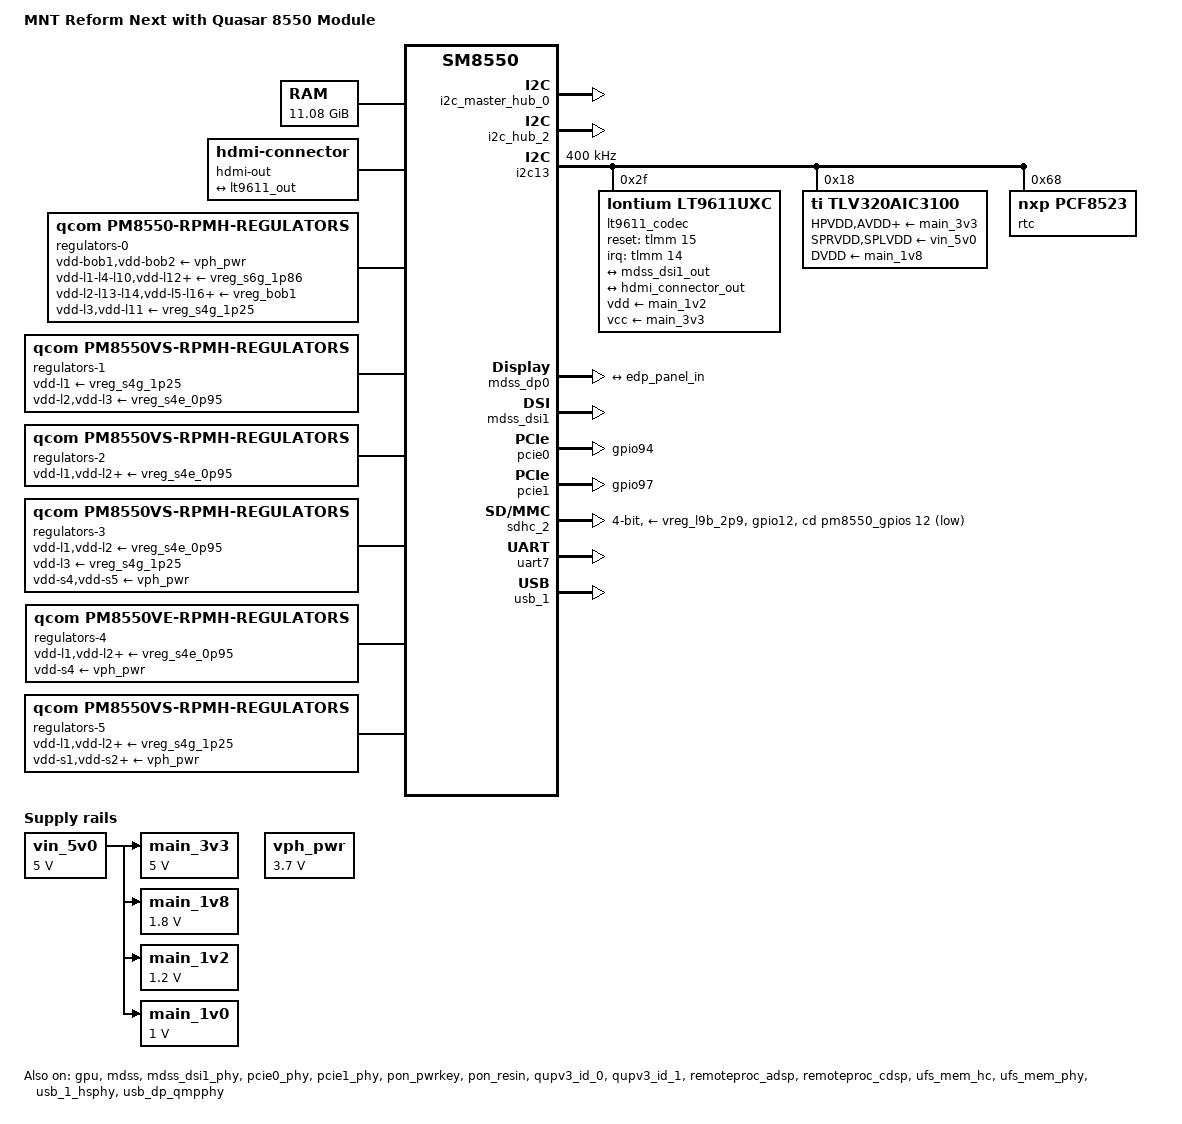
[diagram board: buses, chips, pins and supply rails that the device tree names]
// SPDX-License-Identifier: BSD-3-Clause
/*
 * Copyright (c) 2024 Linaro Limited
 * Copyright (c) 2026 MNT Research GmbH
 */

/dts-v1/;

#include <dt-bindings/leds/common.h>
#include <dt-bindings/regulator/qcom,rpmh-regulator.h>
#include "qcs8550.dtsi"
//#include "pm8010.dtsi"
#include "pm8550.dtsi"
#include "pm8550b.dtsi"
#define PMK8550VE_SID 5
#include "pm8550ve.dtsi"
#include "pm8550vs.dtsi"
#include "pmk8550.dtsi"
//#include "pmr735d_a.dtsi"
//#include "pmr735d_b.dtsi"

/ {
	model = "MNT Reform Next with Quasar 8550 Module";
	compatible = "mnt,quasar", "qcom,sm8550", "qcom,qcs8550";

	aliases {
		serial0 = &uart7;
	};

	memory@a0000000 {
		device_type = "memory";
		reg =
		<0x00 0xa7000000 0x00 0x2d000000>,
		<0x00 0xe1bb0000 0x00 0x1e450000>,
		<0x08 0x80000000 0x00 0x39a00000>,
		<0x08 0xc0000000 0x00 0xc0000000>,
		<0x09 0x80000000 0x01 0x80000000>;
	};

	chosen {
		stdout-path = "serial0:115200n8";
	};

	vin_5v0: vin-5v0-regulator {
		compatible = "regulator-fixed";
		regulator-name = "vin_5v0";
		regulator-min-microvolt = <5000000>;
		regulator-max-microvolt = <5000000>;

		regulator-always-on;
		regulator-boot-on;
	};

	main_3v3: main-3v3-regulator {
		compatible = "regulator-fixed";
		regulator-name = "main_3v3";
		regulator-min-microvolt = <5000000>;
		regulator-max-microvolt = <5000000>;

		regulator-always-on;
		regulator-boot-on;

		vin-supply = <&vin_5v0>;
	};

	main_1v8: main-1v2-regulator {
		compatible = "regulator-fixed";
		regulator-name = "main_1v8";
		regulator-min-microvolt = <1800000>;
		regulator-max-microvolt = <1800000>;

		regulator-always-on;
		regulator-boot-on;

		vin-supply = <&vin_5v0>;
	};

	main_1v2: main-1v2-regulator {
		compatible = "regulator-fixed";
		regulator-name = "main_1v2";
		regulator-min-microvolt = <1200000>;
		regulator-max-microvolt = <1200000>;

		regulator-always-on;
		regulator-boot-on;

		vin-supply = <&vin_5v0>;
	};

	main_1v0: main-1v0-regulator {
		compatible = "regulator-fixed";
		regulator-name = "main_1v0";
		regulator-min-microvolt = <1000000>;
		regulator-max-microvolt = <1000000>;

		regulator-always-on;
		regulator-boot-on;

		vin-supply = <&vin_5v0>;
	};

	hdmi-out {
		compatible = "hdmi-connector";
		type = "a";

		port {
			hdmi_connector_out: endpoint {
				remote-endpoint = <&lt9611_out>;
			};
		};
	};

	/*usb3_con: usb3_con {
		compatible = "usb-a-connector";

		ports {
			#address-cells = <1>;
			#size-cells = <0>;

			port@0 {
				reg = <0>;

				usb3_con_hs_in: endpoint {
					remote-endpoint = <&usb_1_dwc3_hs>;
				};
			};

			port@1 {
				reg = <1>;

				usb3_con_ss_in: endpoint {
					remote-endpoint = <&usb_dp_qmpphy_out_usb>;
				};
			}
		};
	};*/

	// TODO check gpios
	/*gpio-keys {
		compatible = "gpio-keys";

		pinctrl-0 = <&volume_up_n>;
		pinctrl-names = "default";

		key-volume-up {
			label = "Volume Up";
			linux,code = <KEY_VOLUMEUP>;
			gpios = <&pm8550_gpios 6 GPIO_ACTIVE_LOW>;
			debounce-interval = <15>;
			linux,can-disable;
			wakeup-source;
		};
	};*/

	vph_pwr: regulator-vph-pwr {
		compatible = "regulator-fixed";

		regulator-name = "vph_pwr";
		regulator-min-microvolt = <3700000>;
		regulator-max-microvolt = <3700000>;
		regulator-always-on;
		regulator-boot-on;
	};
};

&apps_rsc {
	regulators-0 {
		compatible = "qcom,pm8550-rpmh-regulators";
		qcom,pmic-id = "b";

		vdd-bob1-supply = <&vph_pwr>;
		vdd-bob2-supply = <&vph_pwr>;
		vdd-l1-l4-l10-supply = <&vreg_s6g_1p86>;
		vdd-l2-l13-l14-supply = <&vreg_bob1>;
		vdd-l3-supply = <&vreg_s4g_1p25>;
		vdd-l5-l16-supply = <&vreg_bob1>;
		vdd-l6-l7-supply = <&vreg_bob1>;
		vdd-l8-l9-supply = <&vreg_bob1>;
		vdd-l11-supply = <&vreg_s4g_1p25>;
		vdd-l12-supply = <&vreg_s6g_1p86>;
		vdd-l15-supply = <&vreg_s6g_1p86>;
		vdd-l17-supply = <&vreg_bob2>;

		vreg_bob1: bob1 {
			regulator-name = "vreg_bob1";
			regulator-min-microvolt = <3296000>;
			regulator-max-microvolt = <3960000>;
			regulator-initial-mode = <RPMH_REGULATOR_MODE_HPM>;
		};

		vreg_bob2: bob2 {
			regulator-name = "vreg_bob2";
			regulator-min-microvolt = <2720000>;
			regulator-max-microvolt = <3960000>;
			regulator-initial-mode = <RPMH_REGULATOR_MODE_HPM>;
		};

		vreg_l1b_1p8: ldo1 {
			regulator-name = "vreg_l1b_1p8";
			regulator-min-microvolt = <1800000>;
			regulator-max-microvolt = <1800000>;
			regulator-initial-mode = <RPMH_REGULATOR_MODE_HPM>;
		};

		vreg_l2b_3p0: ldo2 {
			regulator-name = "vreg_l2b_3p0";
			regulator-min-microvolt = <3008000>;
			regulator-max-microvolt = <3008000>;
			regulator-initial-mode = <RPMH_REGULATOR_MODE_HPM>;
		};

		vreg_l5b_3p1: ldo5 {
			regulator-name = "vreg_l5b_3p1";
			regulator-min-microvolt = <3104000>;
			regulator-max-microvolt = <3104000>;
			regulator-initial-mode = <RPMH_REGULATOR_MODE_HPM>;
		};

		vreg_l6b_1p8: ldo6 {
			regulator-name = "vreg_l6b_1p8";
			regulator-min-microvolt = <1800000>;
			regulator-max-microvolt = <3008000>;
			regulator-initial-mode = <RPMH_REGULATOR_MODE_HPM>;
		};

		vreg_l7b_1p8: ldo7 {
			regulator-name = "vreg_l7b_1p8";
			regulator-min-microvolt = <1800000>;
			regulator-max-microvolt = <3008000>;
			regulator-initial-mode = <RPMH_REGULATOR_MODE_HPM>;
		};

		vreg_l8b_1p8: ldo8 {
			regulator-name = "vreg_l8b_1p8";
			regulator-min-microvolt = <1800000>;
			regulator-max-microvolt = <3008000>;
			regulator-initial-mode = <RPMH_REGULATOR_MODE_HPM>;
		};

		vreg_l9b_2p9: ldo9 {
			regulator-name = "vreg_l9b_2p9";
			regulator-min-microvolt = <2960000>;
			regulator-max-microvolt = <3008000>;
			regulator-initial-mode = <RPMH_REGULATOR_MODE_HPM>;
		};

		vreg_l11b_1p2: ldo11 {
			regulator-name = "vreg_l11b_1p2";
			regulator-min-microvolt = <1200000>;
			regulator-max-microvolt = <1504000>;
			regulator-initial-mode = <RPMH_REGULATOR_MODE_HPM>;
		};

		vreg_l12b_1p8: ldo12 {
			regulator-name = "vreg_l12b_1p8";
			regulator-min-microvolt = <1800000>;
			regulator-max-microvolt = <1800000>;
			regulator-initial-mode = <RPMH_REGULATOR_MODE_HPM>;
		};

		vreg_l13b_3p0: ldo13 {
			regulator-name = "vreg_l13b_3p0";
			regulator-min-microvolt = <3000000>;
			regulator-max-microvolt = <3000000>;
			regulator-initial-mode = <RPMH_REGULATOR_MODE_HPM>;
		};

		vreg_l14b_3p2: ldo14 {
			regulator-name = "vreg_l14b_3p2";
			regulator-min-microvolt = <3200000>;
			regulator-max-microvolt = <3200000>;
			regulator-initial-mode = <RPMH_REGULATOR_MODE_HPM>;
		};

		vreg_l15b_1p8: ldo15 {
			regulator-name = "vreg_l15b_1p8";
			regulator-min-microvolt = <1800000>;
			regulator-max-microvolt = <1800000>;
			regulator-initial-mode = <RPMH_REGULATOR_MODE_HPM>;
		};

		vreg_l16b_2p8: ldo16 {
			regulator-name = "vreg_l16b_2p8";
			regulator-min-microvolt = <2800000>;
			regulator-max-microvolt = <2800000>;
			regulator-initial-mode = <RPMH_REGULATOR_MODE_HPM>;
		};

		vreg_l17b_2p5: ldo17 {
			regulator-name = "vreg_l17b_2p5";
			regulator-min-microvolt = <2504000>;
			regulator-max-microvolt = <2504000>;
			regulator-initial-mode = <RPMH_REGULATOR_MODE_HPM>;
		};
	};

	regulators-1 {
		compatible = "qcom,pm8550vs-rpmh-regulators";
		qcom,pmic-id = "c";

		vdd-l1-supply = <&vreg_s4g_1p25>;
		vdd-l2-supply = <&vreg_s4e_0p95>;
		vdd-l3-supply = <&vreg_s4e_0p95>;

		vreg_l3c_0p9: ldo3 {
			regulator-name = "vreg_l3c_0p9";
			regulator-min-microvolt = <880000>;
			regulator-max-microvolt = <912000>;
			regulator-initial-mode = <RPMH_REGULATOR_MODE_HPM>;
		};
	};

	regulators-2 {
		compatible = "qcom,pm8550vs-rpmh-regulators";
		qcom,pmic-id = "d";

		vdd-l1-supply = <&vreg_s4e_0p95>;
		vdd-l2-supply = <&vreg_s4e_0p95>;
		vdd-l3-supply = <&vreg_s4e_0p95>;

		vreg_l1d_0p88: ldo1 {
			regulator-name = "vreg_l1d_0p88";
			regulator-min-microvolt = <880000>;
			regulator-max-microvolt = <920000>;
			regulator-initial-mode = <RPMH_REGULATOR_MODE_HPM>;
		};

		/* ldo2 supplies SM8550 VDD_LPI_MX */
	};

	regulators-3 {
		compatible = "qcom,pm8550vs-rpmh-regulators";
		qcom,pmic-id = "e";

		vdd-l1-supply = <&vreg_s4e_0p95>;
		vdd-l2-supply = <&vreg_s4e_0p95>;
		vdd-l3-supply = <&vreg_s4g_1p25>;
		vdd-s4-supply = <&vph_pwr>;
		vdd-s5-supply = <&vph_pwr>;

		vreg_s4e_0p95: smps4 {
			regulator-name = "vreg_s4e_0p95";
			regulator-min-microvolt = <904000>;
			regulator-max-microvolt = <984000>;
			regulator-initial-mode = <RPMH_REGULATOR_MODE_HPM>;
		};

		vreg_s5e_1p08: smps5 {
			regulator-name = "vreg_s5e_1p08";
			regulator-min-microvolt = <1010000>;
			regulator-max-microvolt = <1120000>;
			regulator-initial-mode = <RPMH_REGULATOR_MODE_HPM>;
		};

		vreg_l1e_0p88: ldo1 {
			regulator-name = "vreg_l1e_0p88";
			regulator-min-microvolt = <880000>;
			regulator-max-microvolt = <912000>;
			regulator-initial-mode = <RPMH_REGULATOR_MODE_HPM>;
		};

		vreg_l2e_0p9: ldo2 {
			regulator-name = "vreg_l2e_0p9";
			regulator-min-microvolt = <870000>;
			regulator-max-microvolt = <970000>;
			regulator-initial-mode = <RPMH_REGULATOR_MODE_HPM>;
		};

		vreg_l3e_1p2: ldo3 {
			regulator-name = "vreg_l3e_1p2";
			regulator-min-microvolt = <1200000>;
			regulator-max-microvolt = <1200000>;
			regulator-initial-mode = <RPMH_REGULATOR_MODE_HPM>;
		};
	};

	regulators-4 {
		compatible = "qcom,pm8550ve-rpmh-regulators";
		qcom,pmic-id = "f";

		vdd-l1-supply = <&vreg_s4e_0p95>;
		vdd-l2-supply = <&vreg_s4e_0p95>;
		vdd-l3-supply = <&vreg_s4e_0p95>;

		vdd-s4-supply = <&vph_pwr>;

		vreg_s4f_0p5: smps4 {
			regulator-name = "vreg_s4f_0p5";
			regulator-min-microvolt = <300000>;
			regulator-max-microvolt = <700000>;
			regulator-initial-mode = <RPMH_REGULATOR_MODE_HPM>;
		};

		vreg_l1f_0p9: ldo1 {
			regulator-name = "vreg_l1f_0p9";
			regulator-min-microvolt = <880000>;
			regulator-max-microvolt = <912000>;
			regulator-initial-mode = <RPMH_REGULATOR_MODE_HPM>;
		};

		vreg_l2f_0p88: ldo2 {
			regulator-name = "vreg_l2f_0p88";
			regulator-min-microvolt = <880000>;
			regulator-max-microvolt = <912000>;
			regulator-initial-mode = <RPMH_REGULATOR_MODE_HPM>;
		};

		vreg_l3f_0p88: ldo3 {
			regulator-name = "vreg_l3f_0p88";
			regulator-min-microvolt = <880000>;
			regulator-max-microvolt = <912000>;
			regulator-initial-mode = <RPMH_REGULATOR_MODE_HPM>;
		};
	};

	regulators-5 {
		compatible = "qcom,pm8550vs-rpmh-regulators";
		qcom,pmic-id = "g";
    
		vdd-l1-supply = <&vreg_s4g_1p25>;
		vdd-l2-supply = <&vreg_s4g_1p25>;
		vdd-l3-supply = <&vreg_s4g_1p25>;
		vdd-s1-supply = <&vph_pwr>;
		vdd-s2-supply = <&vph_pwr>;
		vdd-s3-supply = <&vph_pwr>;
		vdd-s4-supply = <&vph_pwr>;
		vdd-s5-supply = <&vph_pwr>;
		vdd-s6-supply = <&vph_pwr>;

		vreg_s1g_1p25: smps1 {
			regulator-name = "vreg_s1g_1p25";
			regulator-min-microvolt = <1200000>;
			regulator-max-microvolt = <1300000>;
			regulator-initial-mode = <RPMH_REGULATOR_MODE_HPM>;
		};

		vreg_s2g_0p85: smps2 {
			regulator-name = "vreg_s2g_0p85";
			regulator-min-microvolt = <500000>;
			regulator-max-microvolt = <1036000>;
			regulator-initial-mode = <RPMH_REGULATOR_MODE_HPM>;
		};

		vreg_s3g_0p8: smps3 {
			regulator-name = "vreg_s3g_0p8";
			regulator-min-microvolt = <300000>;
			regulator-max-microvolt = <1004000>;
			regulator-initial-mode = <RPMH_REGULATOR_MODE_HPM>;
		};

		vreg_s4g_1p25: smps4 {
			regulator-name = "vreg_s4g_1p25";
			regulator-min-microvolt = <1256000>;
			regulator-max-microvolt = <1408000>;
			regulator-initial-mode = <RPMH_REGULATOR_MODE_HPM>;
		};

		vreg_s5g_0p85: smps5 {
			regulator-name = "vreg_s5g_0p85";
			regulator-min-microvolt = <500000>;
			regulator-max-microvolt = <1004000>;
			regulator-initial-mode = <RPMH_REGULATOR_MODE_HPM>;
		};

		vreg_s6g_1p86: smps6 {
			regulator-name = "vreg_s6g_1p86";
			regulator-min-microvolt = <1800000>;
			regulator-max-microvolt = <2000000>;
			regulator-initial-mode = <RPMH_REGULATOR_MODE_HPM>;
		};

		vreg_l1g_1p2: ldo1 {
			regulator-name = "vreg_l1g_1p2";
			regulator-min-microvolt = <1128000>;
			regulator-max-microvolt = <1272000>;
			regulator-initial-mode = <RPMH_REGULATOR_MODE_HPM>;
		};

		// FIXME: missing in sm8550-qrd.dts
		/*vreg_l2g_1p2: ldo2 {
			regulator-name = "vreg_l2g_1p2";
			regulator-min-microvolt = <1100000>;
			regulator-max-microvolt = <1200000>;
			regulator-initial-mode = <RPMH_REGULATOR_MODE_HPM>;
		};*/

		vreg_l3g_1p2: ldo3 {
			regulator-name = "vreg_l3g_1p2";
			regulator-min-microvolt = <1200000>;
			regulator-max-microvolt = <1200000>;
			regulator-initial-mode = <RPMH_REGULATOR_MODE_HPM>;
		};
	};
};

&i2c_master_hub_0 {
	status = "okay";
};

&i2c_hub_2 {
	status = "okay";
};

&i2c13 {
	clock-frequency = <400000>;
	status = "okay";

	lt9611_codec: hdmi-bridge@2f {
		compatible = "lontium,lt9611uxc";
		reg = <0x2f>;

		interrupts-extended = <&tlmm 14 IRQ_TYPE_EDGE_FALLING>;
		reset-gpios = <&tlmm 15 GPIO_ACTIVE_HIGH>;

		vdd-supply = <&main_1v2>;
		vcc-supply = <&main_3v3>;

		pinctrl-0 = <&lt9611_irq_pin>, <&lt9611_rst_pin>;
		pinctrl-names = "default";

		ports {
			#address-cells = <1>;
			#size-cells = <0>;

			port@0 {
				reg = <0>;

				lt9611_a: endpoint {
					remote-endpoint = <&mdss_dsi1_out>;
				};
			};

			port@2 {
				reg = <2>;

				lt9611_out: endpoint {
					remote-endpoint = <&hdmi_connector_out>;
				};
			};
		};
	};

	tlv320aic3100: codec@18 {
		compatible = "ti,tlv320aic3100";
		reg = <0x18>;
		ai31xx-micbias-vg = <2>;
		#sound-dai-cells = <0>;

		HPVDD-supply = <&main_3v3>;
		SPRVDD-supply = <&vin_5v0>;
		SPLVDD-supply = <&vin_5v0>;
		AVDD-supply = <&main_3v3>;
		IOVDD-supply = <&main_3v3>;
		DVDD-supply = <&main_1v8>;

		status = "okay";
	};

	rtc@68 {
		compatible = "nxp,pcf8523";
		reg = <0x68>;
	};
};

/ {
	sound {
		compatible = "qcom,sm8550-sndcard", "qcom,sm8450-sndcard";
		model = "MNT-Quasar-8550";
		pinctrl-names = "default";
		pinctrl-0 = <&i2s_pins>;
		#address-cells = <0x01>;
		#size-cells = <0x00>;
		status = "okay";

		speaker-i2s-dai-link {
			link-name = "Primary MI2S Playback";

			codec {
				sound-dai = <&tlv320aic3100 0x00>;
			};

			cpu {
				sound-dai = <&q6apmbedai 0x10>;
			};

			platform {
				sound-dai = <&q6apm>;
			};
		};
	};
};

/*&ipa {
	qcom,gsi-loader = "self";
	memory-region = <&ipa_fw_mem>;
	firmware-name = "qcom/sm8550/ipa_fws.mbn";
	status = "okay";
};

// TODO not in qcs dts
&iris {
	status = "okay";
};*/

&ice {
  status = "disabled";
};

&lpass_vamacro {
  status = "disabled";
};
&lpass_wsamacro {
  status = "disabled";
};
&lpass_wsa2macro {
  status = "disabled";
};
&lpass_txmacro {
  status = "disabled";
};
&lpass_rxmacro {
  status = "disabled";
};

// TODO not in qcs dts, but in sm8550
&gpi_dma1 {
	status = "okay";
};

&gpu {
	status = "okay";

	zap-shader {
		firmware-name = "qcom/qcs8550/a740_zap.mbn";
	};
};

&mdss {
	status = "okay";
};

&mdss_dp0 {
	/delete-property/ #sound-dai-cells;
	data-lanes = <0 1>;
	
	status = "okay";

	aux-bus {
		panel: panel {
			compatible = "innolux,n125hce-gn1";
			//compatible = "edp-panel";
			power-supply = <&main_3v3>;
			no-hpd;
			//backlight = <&backlight>;
			// hpd-gpios = <&tlmm 47 GPIO_ACTIVE_HIGH>;

			pinctrl-names = "default";
			pinctrl-0 = <&backlight_enable>;
			status = "okay";

			port {
				edp_panel_in: endpoint {
					//remote-endpoint = <&usb_dp_qmpphy_out_dp>;
					remote-endpoint = <&mdss_dp0_out>;
				};
			};
		};
	};

	ports {
		port@1 {
			reg = <1>;

			mdss_dp0_out: endpoint {
				link-frequencies = /bits/ 64 <1620000000 2700000000 5400000000>;
				remote-endpoint = <&edp_panel_in>;
				//remote-endpoint = <&usb_dp_qmpphy_dp_in>;
				//pinctrl-names = "default";
				//pinctrl-0 = <&dp_hot_plug_det>;
			};
		};
	};	
};

&mdss_dsi1 {
	vdda-supply = <&vreg_l3e_1p2>;
	status = "okay";
};

&mdss_dsi1_out {
	remote-endpoint = <&lt9611_a>;
	data-lanes = <0 1 2 3>;
};

&mdss_dsi1_phy {
	vdds-supply = <&vreg_l1e_0p88>;
	status = "okay";
};

&pcie0 {
	perst-gpios = <&tlmm 94 GPIO_ACTIVE_LOW>;
	wake-gpios = <&tlmm 96 GPIO_ACTIVE_HIGH>;

	pinctrl-0 = <&pcie0_default_state>, <&pcie0_reset_n>;
	pinctrl-names = "default";

	iommu-map = <0x0 &apps_smmu 0x1400 0x1>,
	<0x100 &apps_smmu 0x1401 0x1>,
	<0x208 &apps_smmu 0x1402 0x1>,
	<0x210 &apps_smmu 0x1403 0x1>,
	<0x218 &apps_smmu 0x1404 0x1>,
	<0x300 &apps_smmu 0x1407 0x1>,
	<0x400 &apps_smmu 0x1408 0x1>,
	<0x500 &apps_smmu 0x140c 0x1>,
	<0x501 &apps_smmu 0x140e 0x1>;

	msi-map = <0x00 &gic_its 0x1400 0x01
	0x100 0x7a 0x1401 0x01
	0x208 0x7a 0x1402 0x01
	0x210 0x7a 0x1403 0x01
	0x218 0x7a 0x1404 0x01
	0x300 0x7a 0x1407 0x01
	0x400 0x7a 0x1408 0x01
	0x500 0x7a 0x140c 0x01
	0x501 0x7a 0x140e 0x01>;

	status = "okay";
};

&pcie0_phy {
	vdda-phy-supply = <&vreg_l1e_0p88>;
	vdda-pll-supply = <&vreg_l3e_1p2>;

	status = "okay";
};

&lpass_tlmm {
	status = "disabled";
};

&pcie1 {
	perst-gpios = <&tlmm 97 GPIO_ACTIVE_LOW>;
	wake-gpios = <&tlmm 99 GPIO_ACTIVE_HIGH>;

	pinctrl-0 = <&pcie1_default_state>, <&pcie1_reset_n>;
	pinctrl-names = "default";

	iommu-map = <0x0 &apps_smmu 0x1480 0x1>,
	<0x100 &apps_smmu 0x1481 0x1>,
	<0x208 &apps_smmu 0x1482 0x1>,
	<0x210 &apps_smmu 0x1483 0x1>,
	<0x218 &apps_smmu 0x1484 0x1>,
	<0x300 &apps_smmu 0x1487 0x1>,
	<0x400 &apps_smmu 0x1488 0x1>,
	<0x500 &apps_smmu 0x148c 0x1>,
	<0x501 &apps_smmu 0x148e 0x1>;

	msi-map = <0x00 &gic_its 0x1480 0x01
	0x100 0x7a 0x1481 0x01
	0x208 0x7a 0x1482 0x01
	0x210 0x7a 0x1483 0x01
	0x218 0x7a 0x1484 0x01
	0x300 0x7a 0x1487 0x01
	0x400 0x7a 0x1488 0x01
	0x500 0x7a 0x148c 0x01
	0x501 0x7a 0x148e 0x01>;

	status = "okay";
};

&pcie1_phy {
	vdda-phy-supply = <&vreg_l3c_0p9>;
	vdda-pll-supply = <&vreg_l3e_1p2>;
	vdda-qref-supply = <&vreg_l1e_0p88>;

	status = "okay";
};

/* GPIO notes:
- gpio4: usb hub reset
- gpio5: uswitch_1 on som

uboot magic:
gpio set soc5
gpio clear soc4
gpio set soc4
*/

&pm8550_gpios {
	/* note: pm8550-gpio11 in uboot */
	sdc2_card_det_n: sdc2-card-det-state {
		pins = "gpio12";
		function = "normal";
		input-enable;
		output-disable;
		bias-pull-up;
		power-source = <1>; // 1.8 V
	};

	/* note: pm8550-gpio5 in uboot */
	volume_up_n: volume-up-n-state {
		pins = "gpio6";
		function = "normal";
		power-source = <1>;
		bias-pull-up;
		input-enable;
	};
};

&pm8550_pwm {
	status = "disabled";

	multi-led {
		color = <LED_COLOR_ID_RGB>;
		function = LED_FUNCTION_STATUS;

		#address-cells = <1>;
		#size-cells = <0>;

		led@1 {
			reg = <1>;
			color = <LED_COLOR_ID_RED>;
		};

		led@2 {
			reg = <2>;
			color = <LED_COLOR_ID_GREEN>;
		};

		led@3 {
			reg = <3>;
			color = <LED_COLOR_ID_BLUE>;
		};
	};
};

&pm8550b_eusb2_repeater {
	vdd18-supply = <&vreg_l15b_1p8>;
	vdd3-supply = <&vreg_l5b_3p1>;
};

&pon_pwrkey {
	status = "okay";
};

&pon_resin {
	linux,code = <KEY_VOLUMEDOWN>;
	status = "okay";
};

&qupv3_id_0 {
	status = "okay";
	firmware-name = "qcom/qcs8550/qupv3fw.elf";
};

// TODO crashy in uboot?
&qupv3_id_1 {
	status = "okay";
	firmware-name = "qcom/qcs8550/qupv3fw.elf";
};

// TODO qcom/qcs8550
&remoteproc_adsp {
	firmware-name = "qcom/qcs8550/adsp.mbn", "qcom/sm8550/adsp_dtb.mbn";
	status = "okay";
};

// TODO qcom/qcs8550
&remoteproc_cdsp {
	firmware-name = "qcom/qcs8550/cdsp.mbn", "qcom/sm8550/cdsp_dtb.mbn";
	status = "okay";
};

&sdhc_2 {
	cd-gpios = <&pm8550_gpios 12 GPIO_ACTIVE_LOW>;

	pinctrl-0 = <&sdc2_default>, <&sdc2_card_det_n>;
	pinctrl-1 = <&sdc2_sleep>, <&sdc2_card_det_n>;
	pinctrl-names = "default", "sleep";

	vmmc-supply = <&vreg_l9b_2p9>;
	vqmmc-supply = <&vreg_l8b_1p8>;

	bus-width = <4>;
	no-sdio;
	//no-mmc;

	status = "okay";
};

&tlmm {
	// reserved for SPI fingerprint sensor
	gpio-reserved-ranges = <32 8>;
  
	backlight_enable: backlight-enable-state {
		pins = "gpio22";
		function = "gpio";
		drive-strength = <16>;
		output-high;
		output-enable;
	};

	usb_hub_reset: usb-hub-state {
		pins = "gpio4";
		function = "gpio";
		drive-strength = <16>;
		output-low;
		output-enable;
	};

	usb_hub_switch: usb-hub-state {
		pins = "gpio5";
		function = "gpio";
		drive-strength = <16>;
		output-high;
		output-enable;
	};

	lt9611_irq_pin: lt9611-irq-state {
		pins = "gpio14";
		function = "gpio";
		drive-strength = <2>;
		bias-disable;
	};

	lt9611_rst_pin: lt9611-rst-state {
		pins = "gpio15";
		function = "gpio";
		drive-strength = <16>;
		output-high;
		bias-disable;
	};

	pcie0_reset_n: pcie0-reset-n-state {
		pins = "gpio94";
		function = "gpio";
		drive-strength = <16>;
		output-low;
		bias-disable;
	};

	pcie1_reset_n: pcie1-reset-n-state {
		pins = "gpio97";
		function = "gpio";
		drive-strength = <16>;
		output-low;
		bias-disable;
	};
	
	i2s_pins: i2s0-default-state {
		mclk-pins {
			pins = "gpio125";
			function = "audio_ext_mclk0";
			drive-strength = <0x08>;
			bias-disable;
			output-high;
		};

		sck-pins {
			pins = "gpio126";
			function = "i2s0_sck";
			drive-strength = <0x08>;
			bias-disable;
			output-high;
		};

		data0-pins {
			pins = "gpio127";
			function = "i2s0_data0";
			drive-strength = <0x08>;
			bias-disable;
		};

		data1-pins {
			pins = "gpio128";
			function = "i2s0_data1";
			drive-strength = <0x08>;
			bias-disable;
			output-high;
		};

		ws-pins {
			pins = "gpio129";
			function = "i2s0_ws";
			drive-strength = <0x08>;
			bias-disable;
			output-high;
		};
	};
};

&uart7 {
	status = "okay";
};

&ufs_mem_hc {
	reset-gpios = <&tlmm 210 GPIO_ACTIVE_LOW>;
	vcc-supply = <&vreg_l17b_2p5>;
	vcc-max-microamp = <1300000>;
	vccq-supply = <&vreg_l1g_1p2>;
	vccq-max-microamp = <1200000>;
	vdd-hba-supply = <&vreg_l3g_1p2>;

	status = "okay";
};

&ufs_mem_phy {
	vdda-phy-supply = <&vreg_l1d_0p88>;
	vdda-pll-supply = <&vreg_l3e_1p2>;

	status = "okay";
};

&usb_1 {
	#address-cells = <1>;
	#size-cells = <0>;

	//dr_mode = "host";
	status = "okay";

	/*
	// USB2412 2.0 hub to BT and MB_USB1
	hub_2_0_som: hub@1 {
		compatible = "usb424,2514";
		reg = <1>;
		#address-cells = <1>;
		#size-cells = <0>;

		//reset-gpios = <&tlmm 4 GPIO_ACTIVE_LOW>;
	};

	// TI TUSB8041 super-speed on port board 2
	hub_3_0: hub@1 {
		compatible = "usb451,8140";
		reg = <1>;
		//peer-hub = <&hub_2_0>;
		// reset-gpios = <&tlmm 4 GPIO_ACTIVE_LOW>;
	};
	*/

	/*pinctrl-names = "default";
	pinctrl-0 = <&usb_hub_reset>, <&usb_hub_switch>;*/
};

/*&usb_1_dwc3_hs {
	remote-endpoint = <&usb3_con_hs_in>;
};*/

&usb_1_hsphy {
	vdd-supply = <&vreg_l1e_0p88>;
	vdda12-supply = <&vreg_l3e_1p2>;

	phys = <&pm8550b_eusb2_repeater>;

	status = "okay";
};

&usb_dp_qmpphy {
	vdda-phy-supply = <&vreg_l3e_1p2>;
	vdda-pll-supply = <&vreg_l3f_0p88>;

	status = "okay";

	/delete-property/ orientation-switch;

	ports {
		port@0 {
			#address-cells = <1>;
			#size-cells = <0>;

			/delete-node/ endpoint;
		};

		port@2 {
			#address-cells = <1>;
			#size-cells = <0>;

			/delete-node/ endpoint;
		};
	};
};

/*&usb_dp_qmpphy {
	vdda-phy-supply = <&vreg_l3e_1p2>;
	vdda-pll-supply = <&vreg_l3f_0p88>;

	status = "okay";

	/delete-property/ orientation-switch;

	ports {
		port@0 {
			#address-cells = <1>;
			#size-cells = <0>;

			/delete-node/ endpoint;

			usb_dp_qmpphy_out_dp: endpoint@0 {
				reg = <0>;

				data-lanes = <3 2>;
				remote-endpoint = <&panel_dp_in>;
				//remote-endpoint = <&dp0_connector_in>;
			};

			usb_dp_qmpphy_out_usb: endpoint@1 {
				reg = <1>;

				data-lanes = <1 0>;
				remote-endpoint = <&usb3_con_ss_in>;
			};
		};
	};
};*/

/*&usb_dp_qmpphy_usb_ss_in {
  remote-endpoint = <&usb_1_dwc3_ss>;
};*/

&xo_board {
	clock-frequency = <76800000>;
};
